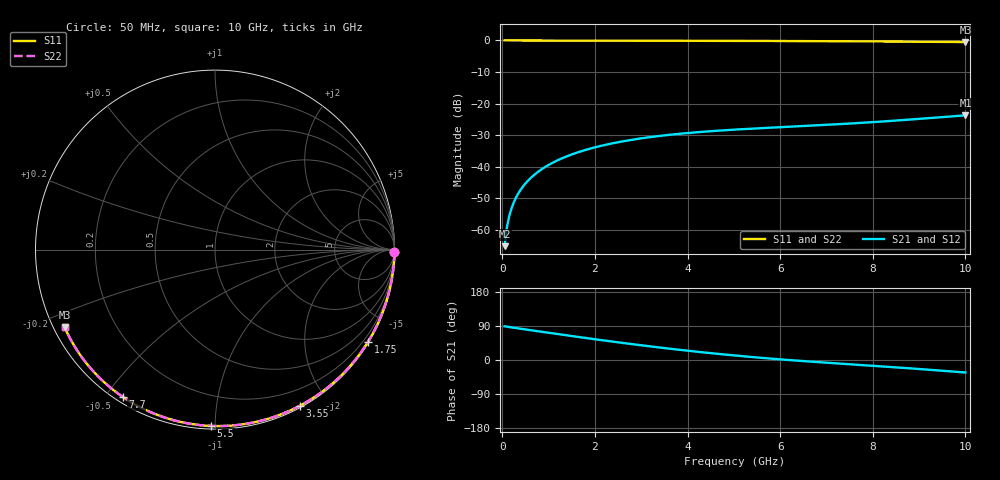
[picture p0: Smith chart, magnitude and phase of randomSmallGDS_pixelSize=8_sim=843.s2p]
! freq	dB(S11)	phase(S11)	dB(S12)	phase(S12)
!  dB(S21)	phase(S21)	dB(S22)	phase(S22)
!S-par simulation data
#  GHz  S  DB  R 50
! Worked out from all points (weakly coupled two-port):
!   200 points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, 50 MHz to 10 GHz, reference 50 ohm
!   highest |S21| = -23.73 dB at 10 GHz (marker M1); lowest = -65.2 dB at 50 MHz (marker M2)
!   lowest |S11| = -0.5 dB at 10 GHz (marker M3), VSWR 34.07, Z = 1.55 - j12.1 ohm
!   |S11| at or under -10 dB: nowhere
!   |S22| runs from -0.5 to 0.0 dB; largest |S21 - S12| = 0
!   S11 on the Smith chart (normalised r, x): 50 MHz: open; 1.75 GHz: 0.03, -3.58; 3.55 GHz: 0.02, -1.68; 5.5 GHz: 0.02, -0.98; 7.7 GHz: 0.02, -0.55; 10 GHz: 0.03, -0.24
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0.05  -0.00 -0.9  -65.20 89.0  -65.20 89.0  -0.00 -0.9
0.1  -0.00 -1.8  -59.18 88.0  -59.18 88.0  -0.00 -1.8
0.15  -0.00 -2.7  -55.67 87.0  -55.67 87.0  -0.00 -2.7
0.2  -0.00 -3.6  -53.19 86.0  -53.19 86.0  -0.00 -3.6
0.25  -0.00 -4.5  -51.27 85.1  -51.27 85.1  -0.00 -4.5
0.35  -0.00 -6.3  -48.38 83.2  -48.38 83.2  -0.00 -6.3
0.5  -0.01 -9.1  -45.33 80.6  -45.33 80.6  -0.01 -9.1
0.7  -0.01 -12.6  -42.46 77.1  -42.46 77.1  -0.01 -12.6
1  -0.02 -18.0  -39.45 71.8  -39.45 71.8  -0.02 -18.0
1.35  -0.03 -24.2  -36.97 65.8  -36.97 65.8  -0.03 -24.2
1.75  -0.04 -31.2  -34.90 58.9  -34.90 58.9  -0.04 -31.2
2.5  -0.06 -44.1  -32.25 46.6  -32.25 46.6  -0.06 -44.1
3.4  -0.08 -59.0  -30.25 32.9  -30.25 32.9  -0.08 -59.0
3.55  -0.09 -61.4  -30.00 30.7  -30.00 30.7  -0.08 -61.4
4.3  -0.11 -73.3  -28.98 20.6  -28.98 20.6  -0.11 -73.3
5.05  -0.13 -84.7  -28.23 11.6  -28.23 11.6  -0.13 -84.7
5.5  -0.15 -91.4  -27.87 6.7  -27.87 6.7  -0.15 -91.4
6.7  -0.21 -108.5  -26.98 -4.6  -26.98 -4.6  -0.21 -108.4
7.7  -0.28 -122.1  -26.16 -12.8  -26.16 -12.8  -0.28 -122.1
8.35  -0.33 -130.8  -25.54 -18.1  -25.54 -18.1  -0.33 -130.8
9.2  -0.42 -142.1  -24.64 -25.5  -24.64 -25.5  -0.42 -142.0
10  -0.51 -152.7  -23.73 -33.1  -23.73 -33.1  -0.51 -152.6
